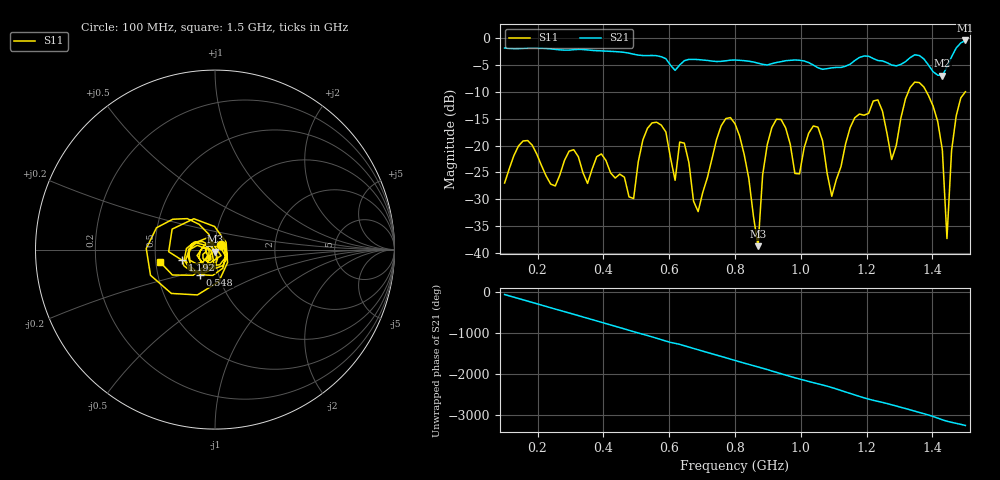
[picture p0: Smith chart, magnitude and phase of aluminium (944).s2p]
! NanoVNA-App
! Date: 2025-09-25 15:02:38
! Start: 100MHz Stop: 1,5GHz Points: 101
! S-Parameter data: F S11 S21 S12 S22
# Hz S RI R 50
!  Frequency  S11_Real  S11_Imag  S21_Real  S21_Imag  S12_Real  S12_Imag  S22_Real  S22_Imag
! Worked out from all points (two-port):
!   101 points, 100 MHz to 1.5 GHz, reference 50 ohm
!   highest |S21| = -0.53 dB at 1.5 GHz (marker M1); lowest = -7.0 dB at 1.43 GHz (marker M2)
!   |S21| within 3 dB of the highest: start of sweep to 574.6 MHz; 1.458 GHz to end of sweep (the widest 2 of 4)
!   lowest |S11| = -38.7 dB at 870 MHz (marker M3), VSWR 1.02, Z = 50.2 - j1.15 ohm
!   |S11| at or under -10 dB: start of sweep to 1.327 GHz; 1.381 GHz to end of sweep
!   S12 and S22 are empty: the file has one direction only
!   S11 on the Smith chart (normalised r, x): 100 MHz: 1.07, +0.06; 548 MHz: 0.82, -0.24; 1.192 GHz: 0.69, -0.08; 1.5 GHz: 0.53, -0.08
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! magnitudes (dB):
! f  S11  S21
! 100 MHz  -27.0  -1.9
! 156 MHz  -19.2  -2.0
! 338 MHz  -25.0  -2.2
! 492 MHz  -29.8  -3.1
! 548 MHz  -15.8  -3.3
! 576 MHz  -16.2  -3.5
! 646 MHz  -19.6  -4.3
! 688 MHz  -32.2  -4.1
! 800 MHz  -16.0  -4.1
! 870 MHz  -38.7  -4.7
! 912 MHz  -16.7  -4.8
! 996 MHz  -25.3  -4.2
! 1.038 GHz  -16.4  -5.1
! 1.094 GHz  -29.4  -5.6
! 1.192 GHz  -14.4  -3.4
! 1.234 GHz  -11.5  -4.3
! 1.276 GHz  -22.6  -5.1
! 1.346 GHz  -8.3  -3.2
! 1.43 GHz  -20.8  -7.0
! 1.444 GHz  -37.2  -5.4
! 1.458 GHz  -20.9  -3.6
! 1.5 GHz  -10.0  -0.5
